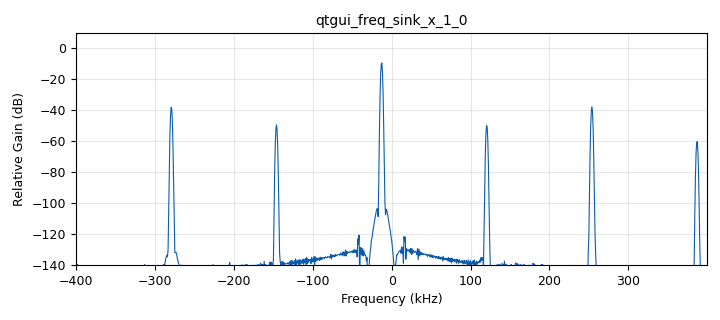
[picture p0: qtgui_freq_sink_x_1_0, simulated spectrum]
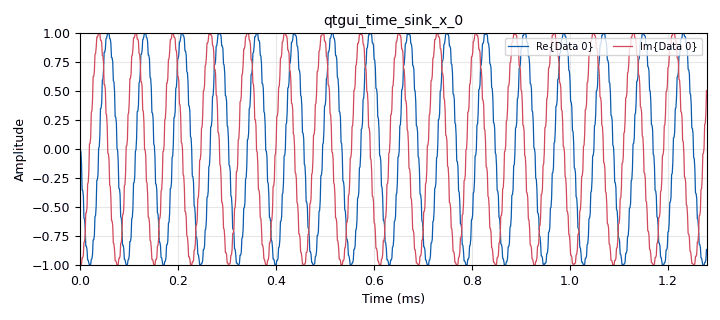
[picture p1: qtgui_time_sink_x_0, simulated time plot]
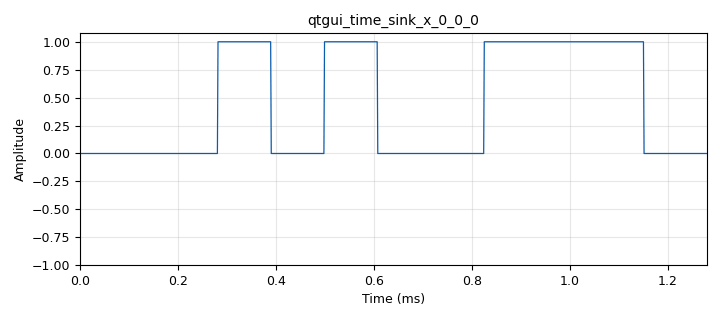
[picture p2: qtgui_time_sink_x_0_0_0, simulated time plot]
options:
  parameters:
    author: avi
    generate_options: qt_gui
    id: a1111
    output_language: python
    title: Not titled yet
  states: {}

blocks:
- name: Fs
  id: variable
  parameters:
    value: 16*fc
  states: {}
- name: fc
  id: variable
  parameters:
    value: 50e3
  states: {}
- name: fsk_deviation
  id: variable
  parameters:
    value: 20e3
  states: {}
- name: samp_rate
  id: variable
  parameters:
    value: '9600'
  states: {}
- name: analog_cpfsk_bc_0
  id: analog_cpfsk_bc
  parameters:
    amplitude: '1'
    k: '0.5'
    samples_per_symbol: '2'
  states: {state: disabled}
- name: analog_random_source_x_0
  id: analog_random_source_x
  parameters:
    max: '2'
    min: '0'
    num_samps: '1000'
    repeat: 'True'
    type: byte
  states: {state: disabled}
- name: analog_wfm_tx_0
  id: analog_wfm_tx
  parameters:
    audio_rate: '48000'
    fh: '-1.0'
    max_dev: 5e3
    quad_rate: '288000'
    tau: '75e-6'
  states: {}
- name: blocks_char_to_float_0
  id: blocks_char_to_float
  parameters:
    scale: '1'
  states: {}
- name: blocks_complex_to_real_0
  id: blocks_complex_to_real
  parameters: {}
  states: {state: disabled}
- name: blocks_complex_to_real_0_0
  id: blocks_complex_to_real
  parameters: {}
  states: {}
- name: blocks_repeat_0
  id: blocks_repeat
  parameters:
    interp: '87'
    type: byte
  states: {}
- name: blocks_throttle_0
  id: blocks_throttle
  parameters:
    samples_per_second: samp_rate
    type: byte
  states: {}
- name: blocks_vector_source_x_0
  id: blocks_vector_source_x
  parameters:
    repeat: 'True'
    type: byte
    vector: (1, 0 ,0,1,1,1,0,0,0,1,0)
  states: {}
- name: digital_cpmmod_bc_0
  id: digital_cpmmod_bc
  parameters:
    L: '1'
    beta: '30'
    mod_index: 25/12
    samples_per_symbol: '9600'
    type: analog.cpm.LRC
  states: {}
- name: qtgui_freq_sink_x_0
  id: qtgui_freq_sink_x
  parameters:
    bw: Fs
    ctrlpanel: 'True'
    fc: '0'
    fftsize: '1024'
    type: complex
    wintype: firdes.WIN_BLACKMAN_hARRIS
  states: {state: disabled}
- name: qtgui_freq_sink_x_1
  id: qtgui_freq_sink_x
  parameters:
    bw: Fs
    ctrlpanel: 'True'
    fc: '0'
    fftsize: '1024'
    type: float
    wintype: firdes.WIN_BLACKMAN_hARRIS
  states: {state: disabled}
- name: qtgui_freq_sink_x_1_0
  id: qtgui_freq_sink_x
  parameters:
    bw: Fs
    ctrlpanel: 'True'
    fc: '0'
    fftsize: '1024'
    type: complex
    wintype: firdes.WIN_BLACKMAN_hARRIS
  states: {}
- name: qtgui_time_sink_x_0
  id: qtgui_time_sink_x
  parameters:
    ctrlpanel: 'True'
    size: '1024'
    srate: Fs
    type: complex
  states: {}
- name: qtgui_time_sink_x_0_0
  id: qtgui_time_sink_x
  parameters:
    ctrlpanel: 'True'
    size: '1024'
    srate: Fs
    type: float
  states: {state: disabled}
- name: qtgui_time_sink_x_0_0_0
  id: qtgui_time_sink_x
  parameters:
    ctrlpanel: 'True'
    size: '1024'
    srate: Fs
    type: float
  states: {}

connections:
- [analog_cpfsk_bc_0, '0', blocks_complex_to_real_0, '0']
- [analog_random_source_x_0, '0', digital_cpmmod_bc_0, '0']
- [analog_wfm_tx_0, '0', qtgui_freq_sink_x_1_0, '0']
- [analog_wfm_tx_0, '0', qtgui_time_sink_x_0, '0']
- [blocks_char_to_float_0, '0', qtgui_time_sink_x_0_0_0, '0']
- [blocks_complex_to_real_0, '0', qtgui_freq_sink_x_1, '0']
- [blocks_complex_to_real_0, '0', qtgui_time_sink_x_0_0, '0']
- [blocks_complex_to_real_0_0, '0', analog_wfm_tx_0, '0']
- [blocks_repeat_0, '0', blocks_throttle_0, '0']
- [blocks_throttle_0, '0', analog_cpfsk_bc_0, '0']
- [blocks_throttle_0, '0', blocks_char_to_float_0, '0']
- [blocks_throttle_0, '0', digital_cpmmod_bc_0, '0']
- [blocks_vector_source_x_0, '0', blocks_repeat_0, '0']
- [digital_cpmmod_bc_0, '0', blocks_complex_to_real_0_0, '0']
- [digital_cpmmod_bc_0, '0', qtgui_freq_sink_x_0, '0']

metadata:
  file_format: 1
